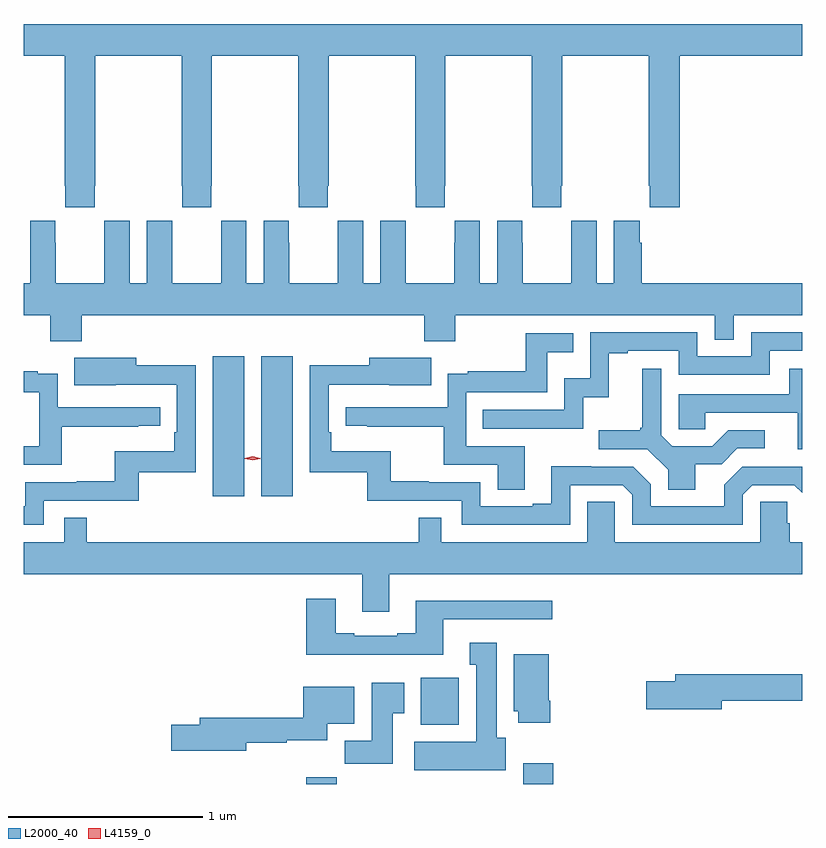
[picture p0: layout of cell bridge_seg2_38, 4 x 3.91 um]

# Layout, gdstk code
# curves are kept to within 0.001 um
import gdstk
lib = gdstk.Library(unit=1e-6, precision=1e-09)
def R(c, l, rs):  # rectangles x0, y0, x1, y1
    for r in rs: c.add(gdstk.rectangle(r[:2], r[2:], *l))
def P(c, l, *ps):  # polygons
    for p in ps: c.add(gdstk.Polygon(p, *l))
L2000_40 = (2000, 40)
L4159_0 = (4159, 0)

bridge_seg2_38 = lib.new_cell('bridge_seg2_38')
R(bridge_seg2_38, L2000_40, [(1069.127,614.589,1069.283,614.624), (1070.243,614.589,1070.396,614.695), (1069.715,614.894,1069.912,615.136), (1068.647,616.068,1068.808,616.789), (1068.896,616.068,1069.057,616.789)])
P(bridge_seg2_38, L2000_40, [(1067.676,618.332),(1067.887,618.332),(1067.887,617.665),(1067.889,617.665),(1067.889,617.553),(1068.039,617.553),(1068.039,617.665),(1068.042,617.665),(1068.042,618.332),(1068.487,618.332),(1068.487,617.665),(1068.489,617.665),(1068.489,617.553),(1068.639,617.553),(1068.639,617.665),(1068.642,617.665),(1068.642,618.332),(1069.087,618.332),(1069.087,617.665),(1069.089,617.665),(1069.089,617.553),(1069.239,617.553),(1069.239,617.665),(1069.242,617.665),(1069.242,618.332),(1069.687,618.332),(1069.687,617.665),(1069.689,617.665),(1069.689,617.553),(1069.839,617.553),(1069.839,617.665),(1069.842,617.665),(1069.842,618.332),(1070.287,618.332),(1070.287,617.665),(1070.289,617.665),(1070.289,617.553),(1070.439,617.553),(1070.439,617.665),(1070.442,617.665),(1070.442,618.332),(1070.887,618.332),(1070.887,617.665),(1070.893,617.665),(1070.893,617.553),(1071.047,617.553),(1071.047,618.332),(1071.676,618.332),(1071.676,618.496),(1067.676,618.496)],
  [(1067.972,617),(1069.733,617),(1069.733,616.865),(1069.893,616.865),(1069.893,617),(1071.228,617),(1071.228,616.873),(1071.324,616.873),(1071.324,617),(1071.676,617),(1071.676,617.164),(1070.852,617.164),(1070.852,617.372),(1070.842,617.372),(1070.842,617.485),(1070.708,617.485),(1070.708,617.164),(1070.62,617.164),(1070.62,617.485),(1070.49,617.485),(1070.49,617.372),(1070.489,617.372),(1070.489,617.164),(1070.239,617.164),(1070.239,617.372),(1070.238,617.372),(1070.238,617.485),(1070.108,617.485),(1070.108,617.164),(1070.02,617.164),(1070.02,617.485),(1069.89,617.485),(1069.89,617.372),(1069.889,617.372),(1069.889,617.164),(1069.639,617.164),(1069.639,617.372),(1069.638,617.372),(1069.638,617.485),(1069.508,617.485),(1069.508,617.164),(1069.42,617.164),(1069.42,617.485),(1069.29,617.485),(1069.29,617.372),(1069.289,617.372),(1069.289,617.164),(1069.039,617.164),(1069.039,617.372),(1069.038,617.372),(1069.038,617.485),(1068.908,617.485),(1068.908,617.164),(1068.82,617.164),(1068.82,617.485),(1068.69,617.485),(1068.69,617.372),(1068.689,617.372),(1068.689,617.164),(1068.439,617.164),(1068.439,617.372),(1068.438,617.372),(1068.438,617.485),(1068.308,617.485),(1068.308,617.164),(1068.22,617.164),(1068.22,617.485),(1068.09,617.485),(1068.09,617.372),(1068.089,617.372),(1068.089,617.164),(1067.839,617.164),(1067.839,617.372),(1067.838,617.372),(1067.838,617.485),(1067.708,617.485),(1067.708,617.164),(1067.676,617.164),(1067.676,617),(1067.812,617),(1067.812,616.865),(1067.972,616.865)],
  [(1070.55,616.577),(1070.683,616.577),(1070.683,616.803),(1070.779,616.803),(1070.779,616.815),(1071.042,616.815),(1071.042,616.692),(1071.51,616.692),(1071.51,616.815),(1071.676,616.815),(1071.676,616.911),(1071.414,616.911),(1071.414,616.788),(1071.138,616.788),(1071.138,616.911),(1070.586,616.911),(1070.586,616.675),(1070.454,616.675),(1070.454,616.512),(1070.035,616.512),(1070.035,616.416),(1070.55,616.416)],
  [(1070.251,616.326),(1069.95,616.326),(1069.95,616.602),(1070.367,616.602),(1070.367,616.808),(1070.501,616.808),(1070.501,616.905),(1070.256,616.905),(1070.256,616.711),(1069.957,616.711),(1069.957,616.699),(1069.854,616.699),(1069.854,616.527),(1069.329,616.527),(1069.329,616.431),(1069.441,616.431),(1069.441,616.426),(1069.834,616.426),(1069.834,616.23),(1070.111,616.23),(1070.111,616.102),(1070.251,616.102)],
  [(1067.778,616.044),(1068.265,616.044),(1068.265,616.191),(1068.558,616.191),(1068.558,616.742),(1068.253,616.742),(1068.253,616.78),(1067.935,616.78),(1067.935,616.64),(1068.149,616.64),(1068.149,616.641),(1068.462,616.641),(1068.462,616.396),(1068.449,616.396),(1068.449,616.3),(1068.144,616.3),(1068.144,616.145),(1067.947,616.145),(1067.947,616.14),(1067.682,616.14),(1067.682,616.017),(1067.676,616.017),(1067.676,615.921),(1067.778,615.921)],
  [(1070.484,616.125),(1070.754,616.125),(1070.802,616.077),(1070.802,615.921),(1071.372,615.921),(1071.372,616.077),(1071.42,616.125),(1071.636,616.125),(1071.676,616.085),(1071.675,616.221),(1071.369,616.221),(1071.275,616.127),(1071.275,616.017),(1070.898,616.017),(1070.898,616.131),(1070.808,616.221),(1070.592,616.221),(1070.592,616.223),(1070.387,616.223),(1070.387,616.03),(1070.291,616.03),(1070.291,616.017),(1070.022,616.017),(1070.022,616.14),(1069.757,616.14),(1069.757,616.145),(1069.561,616.145),(1069.561,616.3),(1069.256,616.3),(1069.256,616.396),(1069.242,616.396),(1069.242,616.641),(1069.769,616.64),(1069.769,616.78),(1069.451,616.78),(1069.451,616.742),(1069.146,616.742),(1069.146,616.191),(1069.44,616.191),(1069.44,616.044),(1069.926,616.044),(1069.926,615.921),(1070.484,615.921)],
  [(1071.676,616.723),(1071.611,616.723),(1071.611,616.593),(1071.042,616.593),(1071.042,616.413),(1071.179,616.413),(1071.179,616.497),(1071.653,616.497),(1071.653,616.311),(1071.676,616.311)],
  [(1071.127,616.234),(1071.262,616.234),(1071.342,616.314),(1071.484,616.314),(1071.484,616.407),(1071.296,616.407),(1071.215,616.326),(1071.009,616.326),(1070.952,616.383),(1070.952,616.723),(1070.855,616.723),(1070.855,616.42),(1070.844,616.42),(1070.844,616.408),(1070.631,616.408),(1070.631,616.311),(1070.88,616.311),(1070.987,616.204),(1070.987,616.102),(1071.127,616.102)],
  [(1067.87,616.426),(1068.263,616.426),(1068.263,616.431),(1068.376,616.431),(1068.376,616.527),(1067.85,616.527),(1067.85,616.699),(1067.747,616.699),(1067.747,616.711),(1067.676,616.711),(1067.676,616.602),(1067.754,616.602),(1067.754,616.326),(1067.676,616.326),(1067.676,616.23),(1067.87,616.23)],
  [(1069.555,615.668),(1071.676,615.668),(1071.676,615.832),(1071.614,615.832),(1071.614,615.93),(1071.599,615.93),(1071.599,616.04),(1071.462,616.04),(1071.462,615.832),(1070.712,615.832),(1070.712,616.04),(1070.573,616.04),(1070.573,615.832),(1069.821,615.832),(1069.821,615.959),(1069.705,615.959),(1069.705,615.832),(1067.999,615.832),(1067.999,615.959),(1067.883,615.959),(1067.883,615.832),(1067.676,615.832),(1067.676,615.668),(1069.415,615.668),(1069.415,615.474),(1069.555,615.474)],
  [(1069.831,615.435),(1070.392,615.435),(1070.392,615.532),(1069.691,615.532),(1069.691,615.364),(1069.595,615.364),(1069.595,615.351),(1069.375,615.351),(1069.375,615.364),(1069.279,615.364),(1069.279,615.541),(1069.127,615.541),(1069.127,615.254),(1069.831,615.254)],
  [(1070.152,614.826),(1070.107,614.826),(1070.107,615.316),(1069.967,615.316),(1069.967,615.203),(1070,615.203),(1070,614.806),(1069.683,614.806),(1069.683,614.66),(1070.152,614.66)],
  [(1070.382,615.016),(1070.374,615.016),(1070.374,615.256),(1070.195,615.256),(1070.195,614.964),(1070.216,614.964),(1070.216,614.904),(1070.382,614.904)],
  [(1071.262,615.016),(1071.676,615.016),(1071.676,615.152),(1071.023,615.152),(1071.023,615.116),(1070.874,615.116),(1070.874,614.974),(1071.262,614.974)],
  [(1069.573,614.953),(1069.63,614.953),(1069.63,615.109),(1069.463,615.109),(1069.463,614.812),(1069.324,614.812),(1069.324,614.694),(1069.573,614.694)],
  [(1068.82,614.802),(1069.028,614.802),(1069.028,614.813),(1069.234,614.813),(1069.234,614.9),(1069.375,614.9),(1069.375,615.088),(1069.112,615.088),(1069.112,614.93),(1068.581,614.93),(1068.581,614.894),(1068.432,614.894),(1068.432,614.759),(1068.82,614.759)])
P(bridge_seg2_38, L4159_0, [(1068.852,616.253),(1068.812,616.262),(1068.812,616.263),(1068.812,616.263),(1068.852,616.273),(1068.892,616.263),(1068.892,616.263),(1068.892,616.262)])

lib.write_gds('bridge_seg2_38.gds')
